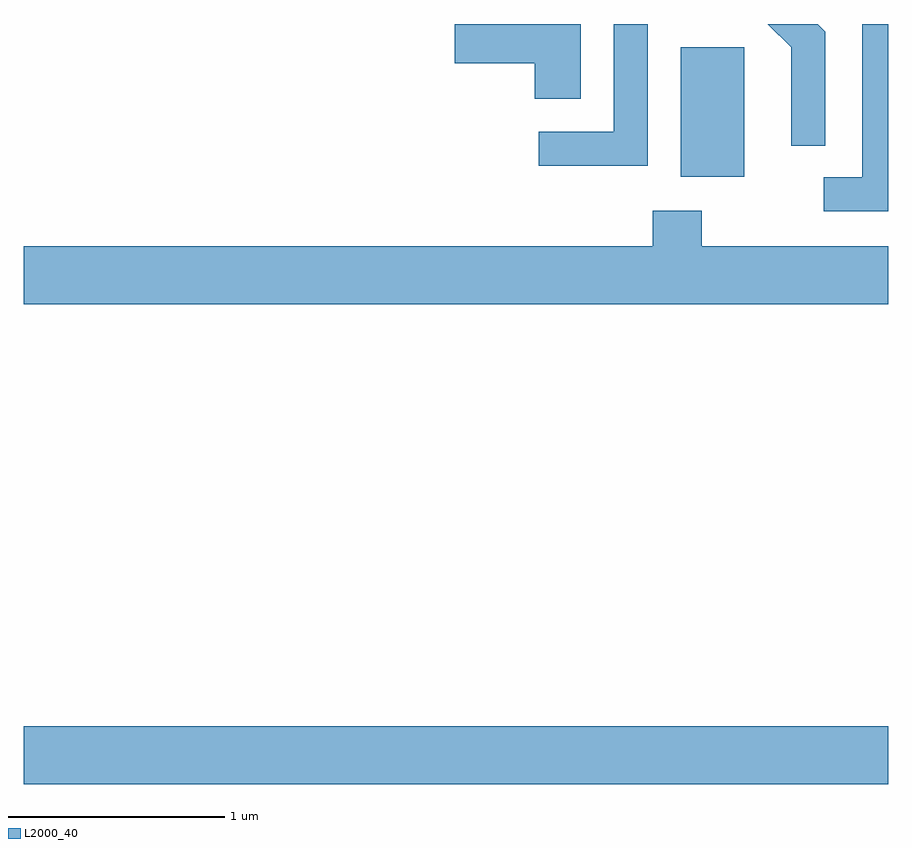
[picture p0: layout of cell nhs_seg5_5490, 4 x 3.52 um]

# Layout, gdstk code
import gdstk
lib = gdstk.Library(unit=1e-6, precision=1e-09)
def R(c, l, rs):  # rectangles x0, y0, x1, y1
    for r in rs: c.add(gdstk.rectangle(r[:2], r[2:], *l))
def P(c, l, *ps):  # polygons
    for p in ps: c.add(gdstk.Polygon(p, *l))
L2000_40 = (2000, 40)

nhs_seg5_5490 = lib.new_cell('nhs_seg5_5490')
R(nhs_seg5_5490, L2000_40, [(347.611,1474.556,351.611,1474.824), (350.651,1477.366,350.944,1477.964)])
P(nhs_seg5_5490, L2000_40, [(350.499,1478.072),(350.341,1478.072),(350.341,1477.574),(349.993,1477.574),(349.993,1477.416),(350.499,1477.416)],
  [(351.319,1478.037),(351.284,1478.072),(351.053,1478.072),(351.161,1477.964),(351.161,1477.508),(351.319,1477.508)],
  [(351.611,1478.072),(351.491,1478.072),(351.491,1477.364),(351.313,1477.364),(351.313,1477.206),(351.611,1477.206)],
  [(350.189,1478.072),(349.606,1478.072),(349.606,1477.891),(349.976,1477.891),(349.976,1477.726),(350.189,1477.726)],
  [(351.611,1477.044),(350.749,1477.044),(350.749,1477.209),(350.521,1477.209),(350.521,1477.044),(347.611,1477.044),(347.611,1476.776),(351.611,1476.776)])

lib.write_gds('nhs_seg5_5490.gds')
